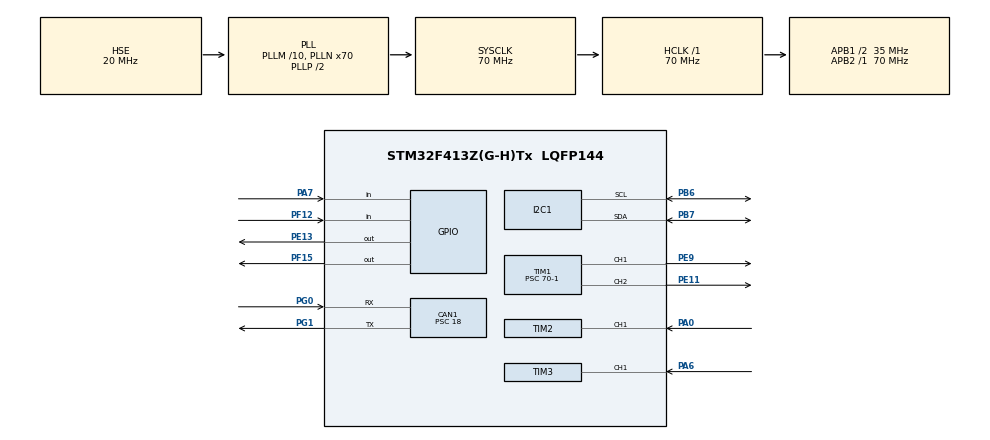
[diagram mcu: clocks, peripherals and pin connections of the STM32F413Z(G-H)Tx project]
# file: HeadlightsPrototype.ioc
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CAN1.ABOM=DISABLE
CAN1.BS1=CAN_BS1_2TQ
CAN1.CalculateBaudRate=486111
CAN1.CalculateTimeBit=2057
CAN1.CalculateTimeQuantum=514.2857142857143
CAN1.NART=DISABLE
CAN1.Prescaler=18
CAN1.SJW=CAN_SJW_1TQ
Dma.Request0=TIM1_CH1
Dma.Request1=TIM1_CH2
Dma.TIM1_CH1.0.Direction=DMA_MEMORY_TO_PERIPH
Dma.TIM1_CH1.0.FIFOMode=DMA_FIFOMODE_DISABLE
Dma.TIM1_CH1.0.Instance=DMA2_Stream1
Dma.TIM1_CH1.0.MemDataAlignment=DMA_MDATAALIGN_HALFWORD
Dma.TIM1_CH1.0.MemInc=DMA_MINC_ENABLE
Dma.TIM1_CH1.0.Mode=DMA_NORMAL
Dma.TIM1_CH1.0.PeriphDataAlignment=DMA_PDATAALIGN_HALFWORD
Dma.TIM1_CH1.0.PeriphInc=DMA_PINC_DISABLE
Dma.TIM1_CH1.0.Priority=DMA_PRIORITY_LOW
Dma.TIM1_CH2.1.Direction=DMA_MEMORY_TO_PERIPH
Dma.TIM1_CH2.1.FIFOMode=DMA_FIFOMODE_DISABLE
Dma.TIM1_CH2.1.Instance=DMA2_Stream2
Dma.TIM1_CH2.1.MemDataAlignment=DMA_MDATAALIGN_HALFWORD
Dma.TIM1_CH2.1.MemInc=DMA_MINC_ENABLE
Dma.TIM1_CH2.1.Mode=DMA_NORMAL
Dma.TIM1_CH2.1.PeriphDataAlignment=DMA_PDATAALIGN_HALFWORD
Dma.TIM1_CH2.1.PeriphInc=DMA_PINC_DISABLE
Dma.TIM1_CH2.1.Priority=DMA_PRIORITY_LOW
FREERTOS.Tasks01=Updates,0,128,StartUpdatesTask,Default,NULL,Dynamic,NULL,NULL;Handler,-3,128,StartHandlerTask,Default,NULL,Dynamic,NULL,NULL;CAN,-3,128,StartCAN_Task,Default,NULL,Dynamic,NULL,NULL
FREERTOS.configUSE_NEWLIB_REENTRANT=1
I2C1.OwnAddress=0x40
Mcu.Family=STM32F4
Mcu.Name=STM32F413Z(G-H)Tx
Mcu.Package=LQFP144
NVIC.CAN1_RX0_IRQn=true\:5\:0\:false\:false\:true\:true\:true\:true\:true
NVIC.DMA2_Stream1_IRQn=true\:5\:0\:false\:false\:true\:true\:false\:true\:true
NVIC.DMA2_Stream2_IRQn=true\:5\:0\:false\:false\:true\:true\:false\:true\:true
NVIC.I2C1_ER_IRQn=true\:5\:0\:false\:false\:true\:true\:true\:true\:true
NVIC.I2C1_EV_IRQn=true\:5\:0\:false\:false\:true\:true\:true\:true\:true
NVIC.PriorityGroup=NVIC_PRIORITYGROUP_4
NVIC.TIM4_IRQn=true\:15\:0\:false\:false\:true\:false\:false\:true\:true
NVIC.TimeBase=TIM4_IRQn
NVIC.TimeBaseIP=TIM4
PA0.Signal=S_TIM2_CH1_ETR
PA13.Mode=Serial_Wire
PA13.Signal=SYS_JTMS-SWDIO
PA14.Mode=Serial_Wire
PA14.Signal=SYS_JTCK-SWCLK
PA6.Signal=S_TIM3_CH1
PA7.Signal=GPIO_Input
PB6.Mode=I2C
PB6.Signal=I2C1_SCL
PB7.Mode=I2C
PB7.Signal=I2C1_SDA
PE11.Signal=S_TIM1_CH2
PE13.Signal=GPIO_Output
PE9.Signal=S_TIM1_CH1
PF12.Signal=GPIO_Input
PF15.GPIO_PuPd=GPIO_NOPULL
PF15.Signal=GPIO_Output
PG0.Mode=CAN_Activate
PG0.Signal=CAN1_RX
PG1.Mode=CAN_Activate
PG1.Signal=CAN1_TX
PH0\ -\ OSC_IN.Mode=HSE-External-Oscillator
PH0\ -\ OSC_IN.Signal=RCC_OSC_IN
PH1\ -\ OSC_OUT.Mode=HSE-External-Oscillator
PH1\ -\ OSC_OUT.Signal=RCC_OSC_OUT
ProjectManager.HeapSize=0x200
ProjectManager.StackSize=0x400
ProjectManager.TargetToolchain=STM32CubeIDE
RCC.AHBFreq_Value=70000000
RCC.APB1CLKDivider=RCC_HCLK_DIV2
RCC.APB1Freq_Value=35000000
RCC.APB1TimFreq_Value=70000000
RCC.APB2Freq_Value=70000000
RCC.APB2TimFreq_Value=70000000
RCC.CortexFreq_Value=70000000
RCC.HCLKFreq_Value=70000000
RCC.HSE_VALUE=20000000
RCC.PLLM=10
RCC.PLLN=70
RCC.PLLSourceVirtual=RCC_PLLSOURCE_HSE
RCC.SYSCLKFreq_VALUE=70000000
RCC.SYSCLKSource=RCC_SYSCLKSOURCE_PLLCLK
RCC.USBFreq_Value=70000000
RCC.VCOOutputFreq_Value=140000000
SH.S_TIM1_CH1.0=TIM1_CH1,PWM Generation1 CH1
SH.S_TIM1_CH2.0=TIM1_CH2,PWM Generation2 CH2
SH.S_TIM2_CH1_ETR.0=TIM2_CH1,PWM_Input_1
SH.S_TIM3_CH1.0=TIM3_CH1,PWM_Input_1
TIM1.Channel-PWM\ Generation1\ CH1=TIM_CHANNEL_1
TIM1.Channel-PWM\ Generation2\ CH2=TIM_CHANNEL_2
TIM1.Period=100-1
TIM1.Prescaler=70-1
VP_FREERTOS_VS_CMSIS_V1.Mode=CMSIS_V1
VP_SYS_VS_tim4.Mode=TIM4
VP_TIM1_VS_ClockSourceINT.Mode=Internal
VP_TIM2_VS_ClockSourceINT.Mode=Internal
VP_TIM3_VS_ClockSourceINT.Mode=Internal
board=custom

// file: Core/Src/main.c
/* USER CODE BEGIN Header */
/**
 ******************************************************************************
 * @file           : main.c
 * @brief          : Main program body
 ******************************************************************************
 * @attention
 *
 * Copyright (c) 2024 STMicroelectronics.
 * All rights reserved.
 *
 * This software is licensed under terms that can be found in the LICENSE file
 * in the root directory of this software component.
 * If no LICENSE file comes with this software, it is provided AS-IS.
 *
 ******************************************************************************
 */
/* USER CODE END Header */
#include "main.h"
#include "cmsis_os.h"

/* USER CODE BEGIN Includes */

#include "headlights.h"
#include "indicators.h"
#include "tests_headlights.h"
#include "tests_indicators.h"
#include "stdio.h"
#include "stdlib.h"
#include "ina219.h"

/* USER CODE END Includes */

CAN_HandleTypeDef hcan1;

I2C_HandleTypeDef hi2c1;

TIM_HandleTypeDef htim1;
TIM_HandleTypeDef htim2;
TIM_HandleTypeDef htim3;
DMA_HandleTypeDef hdma_tim1_ch1;
DMA_HandleTypeDef hdma_tim1_ch2;

osThreadId CANHandle;
osThreadId INA219Handle;
osThreadId IndicatorsHandle;

void SystemClock_Config(void);
static void MX_GPIO_Init(void);
static void MX_DMA_Init(void);
static void MX_TIM1_Init(void);
static void MX_TIM3_Init(void);
static void MX_TIM2_Init(void);
static void MX_CAN1_Init(void);
static void MX_I2C1_Init(void);
void StartCAN_Task(void const * argument);
void StartINA219_Task(void const * argument);
void StartIndicators_Task(void const * argument);

/* USER CODE BEGIN PFP */
static void MX_CAN_Filter_Config(void);
/* USER CODE END PFP */

/* USER CODE BEGIN 0 */

typedef union
{
	uint8_t bytes[8];    // Access as an array of 8 bytes
	uint16_t u16[4];     // Access as an array of 4 unsigned 16-bit integers
	uint32_t u32[2];     // Access as an array of 2 unsigned 32-bit integers
	float f[2];          // Access as an array of 2 floats
}CAN_MessageData;

INA219_t ina219;

typedef struct {
	uint16_t busVoltage_mV;   // bus voltage, LSB 4 mV
	int32_t  shuntVoltage_uV; // shunt voltage in microvolts, LSB 10 uV, signed
	int16_t  current_mA;      // current in mA
} INA219_Readings_t;
static volatile INA219_Readings_t ina219_readings;

/* USER CODE END 0 */

int main(void)
{

  /* MCU Configuration--------------------------------------------------------*/

  /* Reset of all peripherals, Initializes the Flash interface and the Systick. */
  HAL_Init();

  /* Configure the system clock */
  SystemClock_Config();

  /* Initialize all configured peripherals */
  MX_GPIO_Init();
  MX_DMA_Init();
  MX_TIM1_Init();
  MX_TIM3_Init();
  MX_TIM2_Init();
  MX_CAN1_Init();
  MX_I2C1_Init();
  /* USER CODE BEGIN 2 */

	HAL_TIM_IC_Start_IT(&htim2, TIM_CHANNEL_1); // input, main channel, captures interrupts
	HAL_TIM_IC_Start(&htim2, TIM_CHANNEL_2); // input, indirect channel, no interrupts
	HAL_TIM_IC_Start_IT(&htim3, TIM_CHANNEL_1);
	HAL_TIM_IC_Start(&htim3, TIM_CHANNEL_2);

	HAL_TIM_PWM_Start(&htim1, TIM_CHANNEL_1);
	HAL_TIM_PWM_Start(&htim1, TIM_CHANNEL_2);

	headlights_GPIO highBeam = { GPIOA, GPIO_PIN_6 };
	headlights_GPIO lowBeam = { GPIOA, GPIO_PIN_0 };
	indicators_GPIO leftInd = { GPIOF, GPIO_PIN_12 };
	indicators_GPIO rightInd = { GPIOA, GPIO_PIN_7 };

#if RUN_BOOT_SELFTEST
	Headlights_Init_Test(highBeam, lowBeam);
	Headlights_Updates_Test();
	Headlights_Handle_Test();

	Indicators_Init(leftInd, rightInd);
	Indicators_Updates_Test();
	Indicators_Handle_Test();
#endif

	Headlights_Init(highBeam, lowBeam);
	Indicators_Init(leftInd, rightInd);

	MX_CAN_Filter_Config();
	HAL_CAN_Start(&hcan1);
	HAL_CAN_ActivateNotification(&hcan1, CAN_IT_RX_FIFO0_MSG_PENDING);

	//Initialize INA219
	if (INA219_Init(&ina219, &hi2c1, INA219_ADDRESS) == 0)
	    {
			Error_Handler();
	    }
	INA219_setConfig(&ina219, INA219_CONFIG_BVOLTAGERANGE_32V |
	                            INA219_CONFIG_GAIN_8_320MV |
	                            INA219_CONFIG_BADCRES_12BIT |
	                            INA219_CONFIG_SADCRES_12BIT_1S_532US |
	                            INA219_CONFIG_MODE_SANDBVOLT_CONTINUOUS);

  /* USER CODE END 2 */

  /* Create the thread(s) */
  /* definition and creation of CAN */
  osThreadDef(CAN, StartCAN_Task, osPriorityIdle, 0, 128);
  CANHandle = osThreadCreate(osThread(CAN), NULL);

  /* USER CODE BEGIN RTOS_THREADS */
  /* definition and creation of INA219 polling thread */
  osThreadDef(INA219, StartINA219_Task, osPriorityLow, 0, 128);
  INA219Handle = osThreadCreate(osThread(INA219), NULL);

  /* definition and creation of indicator blink thread */
  osThreadDef(Indicators, StartIndicators_Task, osPriorityNormal, 0, 128);
  IndicatorsHandle = osThreadCreate(osThread(Indicators), NULL);
  /* USER CODE END RTOS_THREADS */

  /* Start scheduler */
  osKernelStart();

  /* We should never get here as control is now taken by the scheduler */

  /* Infinite loop */
	while (1) {

    /* USER CODE BEGIN 3 */

		HAL_Delay(100);
	}
  /* USER CODE END 3 */
}

void SystemClock_Config(void)
{
  RCC_OscInitTypeDef RCC_OscInitStruct = {0};
  RCC_ClkInitTypeDef RCC_ClkInitStruct = {0};

  /** Configure the main internal regulator output voltage
  */
  __HAL_RCC_PWR_CLK_ENABLE();
  __HAL_PWR_VOLTAGESCALING_CONFIG(PWR_REGULATOR_VOLTAGE_SCALE1);

  /** Initializes the RCC Oscillators according to the specified parameters
  * in the RCC_OscInitTypeDef structure.
  */
  RCC_OscInitStruct.OscillatorType = RCC_OSCILLATORTYPE_HSE;
  RCC_OscInitStruct.HSEState = RCC_HSE_ON;
  RCC_OscInitStruct.PLL.PLLState = RCC_PLL_ON;
  RCC_OscInitStruct.PLL.PLLSource = RCC_PLLSOURCE_HSE;
  RCC_OscInitStruct.PLL.PLLM = 10;
  RCC_OscInitStruct.PLL.PLLN = 70;
  RCC_OscInitStruct.PLL.PLLP = RCC_PLLP_DIV2;
  RCC_OscInitStruct.PLL.PLLQ = 2;
  RCC_OscInitStruct.PLL.PLLR = 2;
  if (HAL_RCC_OscConfig(&RCC_OscInitStruct) != HAL_OK)
  {
    Error_Handler();
  }

  /** Initializes the CPU, AHB and APB buses clocks
  */
  RCC_ClkInitStruct.ClockType = RCC_CLOCKTYPE_HCLK|RCC_CLOCKTYPE_SYSCLK
                              |RCC_CLOCKTYPE_PCLK1|RCC_CLOCKTYPE_PCLK2;
  RCC_ClkInitStruct.SYSCLKSource = RCC_SYSCLKSOURCE_PLLCLK;
  RCC_ClkInitStruct.AHBCLKDivider = RCC_SYSCLK_DIV1;
  RCC_ClkInitStruct.APB1CLKDivider = RCC_HCLK_DIV2;
  RCC_ClkInitStruct.APB2CLKDivider = RCC_HCLK_DIV1;

  if (HAL_RCC_ClockConfig(&RCC_ClkInitStruct, FLASH_LATENCY_2) != HAL_OK)
  {
    Error_Handler();
  }
}

static void MX_CAN1_Init(void)
{

  hcan1.Instance = CAN1;
  hcan1.Init.Prescaler = 18;
  hcan1.Init.Mode = CAN_MODE_NORMAL;
  hcan1.Init.SyncJumpWidth = CAN_SJW_1TQ;
  hcan1.Init.TimeSeg1 = CAN_BS1_2TQ;
  hcan1.Init.TimeSeg2 = CAN_BS2_1TQ;
  hcan1.Init.TimeTriggeredMode = DISABLE;
  hcan1.Init.AutoBusOff = DISABLE;
  hcan1.Init.AutoWakeUp = DISABLE;
  hcan1.Init.AutoRetransmission = DISABLE;
  hcan1.Init.ReceiveFifoLocked = DISABLE;
  hcan1.Init.TransmitFifoPriority = DISABLE;
  if (HAL_CAN_Init(&hcan1) != HAL_OK)
  {
    Error_Handler();
  }

}

static void MX_I2C1_Init(void)
{

  hi2c1.Instance = I2C1;
  hi2c1.Init.ClockSpeed = 100000;
  hi2c1.Init.DutyCycle = I2C_DUTYCYCLE_2;
  hi2c1.Init.OwnAddress1 = 128;
  hi2c1.Init.AddressingMode = I2C_ADDRESSINGMODE_7BIT;
  hi2c1.Init.DualAddressMode = I2C_DUALADDRESS_DISABLE;
  hi2c1.Init.OwnAddress2 = 0;
  hi2c1.Init.GeneralCallMode = I2C_GENERALCALL_DISABLE;
  hi2c1.Init.NoStretchMode = I2C_NOSTRETCH_DISABLE;
  if (HAL_I2C_Init(&hi2c1) != HAL_OK)
  {
    Error_Handler();
  }

}

static void MX_TIM1_Init(void)
{

  TIM_ClockConfigTypeDef sClockSourceConfig = {0};
  TIM_MasterConfigTypeDef sMasterConfig = {0};
  TIM_OC_InitTypeDef sConfigOC = {0};
  TIM_BreakDeadTimeConfigTypeDef sBreakDeadTimeConfig = {0};

  htim1.Instance = TIM1;
  htim1.Init.Prescaler = 70-1;
  htim1.Init.CounterMode = TIM_COUNTERMODE_UP;
  htim1.Init.Period = 100-1;
  htim1.Init.ClockDivision = TIM_CLOCKDIVISION_DIV1;
  htim1.Init.RepetitionCounter = 0;
  htim1.Init.AutoReloadPreload = TIM_AUTORELOAD_PRELOAD_DISABLE;
  if (HAL_TIM_Base_Init(&htim1) != HAL_OK)
  {
    Error_Handler();
  }
  sClockSourceConfig.ClockSource = TIM_CLOCKSOURCE_INTERNAL;
  if (HAL_TIM_ConfigClockSource(&htim1, &sClockSourceConfig) != HAL_OK)
  {
    Error_Handler();
  }
  if (HAL_TIM_PWM_Init(&htim1) != HAL_OK)
  {
    Error_Handler();
  }
  sMasterConfig.MasterOutputTrigger = TIM_TRGO_RESET;
  sMasterConfig.MasterSlaveMode = TIM_MASTERSLAVEMODE_DISABLE;
  if (HAL_TIMEx_MasterConfigSynchronization(&htim1, &sMasterConfig) != HAL_OK)
  {
    Error_Handler();
  }
  sConfigOC.OCMode = TIM_OCMODE_PWM1;
  sConfigOC.Pulse = 0;
  sConfigOC.OCPolarity = TIM_OCPOLARITY_HIGH;
  sConfigOC.OCNPolarity = TIM_OCNPOLARITY_HIGH;
  sConfigOC.OCFastMode = TIM_OCFAST_DISABLE;
  sConfigOC.OCIdleState = TIM_OCIDLESTATE_RESET;
  sConfigOC.OCNIdleState = TIM_OCNIDLESTATE_RESET;
  if (HAL_TIM_PWM_ConfigChannel(&htim1, &sConfigOC, TIM_CHANNEL_1) != HAL_OK)
  {
    Error_Handler();
  }
  if (HAL_TIM_PWM_ConfigChannel(&htim1, &sConfigOC, TIM_CHANNEL_2) != HAL_OK)
  {
    Error_Handler();
  }
  sBreakDeadTimeConfig.OffStateRunMode = TIM_OSSR_DISABLE;
  sBreakDeadTimeConfig.OffStateIDLEMode = TIM_OSSI_DISABLE;
  sBreakDeadTimeConfig.LockLevel = TIM_LOCKLEVEL_OFF;
  sBreakDeadTimeConfig.DeadTime = 0;
  sBreakDeadTimeConfig.BreakState = TIM_BREAK_DISABLE;
  sBreakDeadTimeConfig.BreakPolarity = TIM_BREAKPOLARITY_HIGH;
  sBreakDeadTimeConfig.AutomaticOutput = TIM_AUTOMATICOUTPUT_DISABLE;
  if (HAL_TIMEx_ConfigBreakDeadTime(&htim1, &sBreakDeadTimeConfig) != HAL_OK)
  {
    Error_Handler();
  }
  HAL_TIM_MspPostInit(&htim1);

}

static void MX_TIM2_Init(void)
{

  TIM_ClockConfigTypeDef sClockSourceConfig = {0};
  TIM_SlaveConfigTypeDef sSlaveConfig = {0};
  TIM_IC_InitTypeDef sConfigIC = {0};
  TIM_MasterConfigTypeDef sMasterConfig = {0};

  htim2.Instance = TIM2;
  htim2.Init.Prescaler = 0;
  htim2.Init.CounterMode = TIM_COUNTERMODE_UP;
  htim2.Init.Period = 4294967295;
  htim2.Init.ClockDivision = TIM_CLOCKDIVISION_DIV1;
  htim2.Init.AutoReloadPreload = TIM_AUTORELOAD_PRELOAD_DISABLE;
  if (HAL_TIM_Base_Init(&htim2) != HAL_OK)
  {
    Error_Handler();
  }
  sClockSourceConfig.ClockSource = TIM_CLOCKSOURCE_INTERNAL;
  if (HAL_TIM_ConfigClockSource(&htim2, &sClockSourceConfig) != HAL_OK)
  {
    Error_Handler();
  }
  if (HAL_TIM_IC_Init(&htim2) != HAL_OK)
  {
    Error_Handler();
  }
  sSlaveConfig.SlaveMode = TIM_SLAVEMODE_RESET;
  sSlaveConfig.InputTrigger = TIM_TS_TI1FP1;
  sSlaveConfig.TriggerPolarity = TIM_INPUTCHANNELPOLARITY_RISING;
  sSlaveConfig.TriggerPrescaler = TIM_ICPSC_DIV1;
  sSlaveConfig.TriggerFilter = 0;
  if (HAL_TIM_SlaveConfigSynchro(&htim2, &sSlaveConfig) != HAL_OK)
  {
    Error_Handler();
  }
  sConfigIC.ICPolarity = TIM_INPUTCHANNELPOLARITY_RISING;
  sConfigIC.ICSelection = TIM_ICSELECTION_DIRECTTI;
  sConfigIC.ICPrescaler = TIM_ICPSC_DIV1;
  sConfigIC.ICFilter = 0;
  if (HAL_TIM_IC_ConfigChannel(&htim2, &sConfigIC, TIM_CHANNEL_1) != HAL_OK)
  {
    Error_Handler();
  }
  sConfigIC.ICPolarity = TIM_INPUTCHANNELPOLARITY_FALLING;
  sConfigIC.ICSelection = TIM_ICSELECTION_INDIRECTTI;
  if (HAL_TIM_IC_ConfigChannel(&htim2, &sConfigIC, TIM_CHANNEL_2) != HAL_OK)
  {
    Error_Handler();
  }
  sMasterConfig.MasterOutputTrigger = TIM_TRGO_RESET;
  sMasterConfig.MasterSlaveMode = TIM_MASTERSLAVEMODE_DISABLE;
  if (HAL_TIMEx_MasterConfigSynchronization(&htim2, &sMasterConfig) != HAL_OK)
  {
    Error_Handler();
  }

}

static void MX_TIM3_Init(void)
{

  TIM_ClockConfigTypeDef sClockSourceConfig = {0};
  TIM_SlaveConfigTypeDef sSlaveConfig = {0};
  TIM_IC_InitTypeDef sConfigIC = {0};
  TIM_MasterConfigTypeDef sMasterConfig = {0};

  htim3.Instance = TIM3;
  htim3.Init.Prescaler = 0;
  htim3.Init.CounterMode = TIM_COUNTERMODE_UP;
  htim3.Init.Period = 65535;
  htim3.Init.ClockDivision = TIM_CLOCKDIVISION_DIV1;
  htim3.Init.AutoReloadPreload = TIM_AUTORELOAD_PRELOAD_DISABLE;
  if (HAL_TIM_Base_Init(&htim3) != HAL_OK)
  {
    Error_Handler();
  }
  sClockSourceConfig.ClockSource = TIM_CLOCKSOURCE_INTERNAL;
  if (HAL_TIM_ConfigClockSource(&htim3, &sClockSourceConfig) != HAL_OK)
  {
    Error_Handler();
  }
  if (HAL_TIM_IC_Init(&htim3) != HAL_OK)
  {
    Error_Handler();
  }
  sSlaveConfig.SlaveMode = TIM_SLAVEMODE_RESET;
  sSlaveConfig.InputTrigger = TIM_TS_TI1FP1;
  sSlaveConfig.TriggerPolarity = TIM_INPUTCHANNELPOLARITY_RISING;
  sSlaveConfig.TriggerPrescaler = TIM_ICPSC_DIV1;
  sSlaveConfig.TriggerFilter = 0;
  if (HAL_TIM_SlaveConfigSynchro(&htim3, &sSlaveConfig) != HAL_OK)
  {
    Error_Handler();
  }
  sConfigIC.ICPolarity = TIM_INPUTCHANNELPOLARITY_RISING;
  sConfigIC.ICSelection = TIM_ICSELECTION_DIRECTTI;
  sConfigIC.ICPrescaler = TIM_ICPSC_DIV1;
  sConfigIC.ICFilter = 0;
  if (HAL_TIM_IC_ConfigChannel(&htim3, &sConfigIC, TIM_CHANNEL_1) != HAL_OK)
  {
    Error_Handler();
  }
  sConfigIC.ICPolarity = TIM_INPUTCHANNELPOLARITY_FALLING;
  sConfigIC.ICSelection = TIM_ICSELECTION_INDIRECTTI;
  if (HAL_TIM_IC_ConfigChannel(&htim3, &sConfigIC, TIM_CHANNEL_2) != HAL_OK)
  {
    Error_Handler();
  }
  sMasterConfig.MasterOutputTrigger = TIM_TRGO_RESET;
  sMasterConfig.MasterSlaveMode = TIM_MASTERSLAVEMODE_DISABLE;
  if (HAL_TIMEx_MasterConfigSynchronization(&htim3, &sMasterConfig) != HAL_OK)
  {
    Error_Handler();
  }

}

static void MX_DMA_Init(void)
{

  /* DMA controller clock enable */
  __HAL_RCC_DMA2_CLK_ENABLE();

  /* DMA interrupt init */
  /* DMA2_Stream1_IRQn interrupt configuration */
  HAL_NVIC_SetPriority(DMA2_Stream1_IRQn, 5, 0);
  HAL_NVIC_EnableIRQ(DMA2_Stream1_IRQn);
  /* DMA2_Stream2_IRQn interrupt configuration */
  HAL_NVIC_SetPriority(DMA2_Stream2_IRQn, 5, 0);
  HAL_NVIC_EnableIRQ(DMA2_Stream2_IRQn);

}

static void MX_GPIO_Init(void)
{
  GPIO_InitTypeDef GPIO_InitStruct = {0};

  /* GPIO Ports Clock Enable */
  __HAL_RCC_GPIOH_CLK_ENABLE();
  __HAL_RCC_GPIOA_CLK_ENABLE();
  __HAL_RCC_GPIOF_CLK_ENABLE();
  __HAL_RCC_GPIOG_CLK_ENABLE();
  __HAL_RCC_GPIOE_CLK_ENABLE();
  __HAL_RCC_GPIOB_CLK_ENABLE();

  /*Configure GPIO pin Output Level */
  HAL_GPIO_WritePin(GPIOF, GPIO_PIN_15, GPIO_PIN_RESET);

  /*Configure GPIO pin Output Level */
  HAL_GPIO_WritePin(GPIOE, GPIO_PIN_13, GPIO_PIN_RESET);

  /*Configure GPIO pin : PA7 */
  GPIO_InitStruct.Pin = GPIO_PIN_7;
  GPIO_InitStruct.Mode = GPIO_MODE_INPUT;
  GPIO_InitStruct.Pull = GPIO_NOPULL;
  HAL_GPIO_Init(GPIOA, &GPIO_InitStruct);

  /*Configure GPIO pin : PF12 */
  GPIO_InitStruct.Pin = GPIO_PIN_12;
  GPIO_InitStruct.Mode = GPIO_MODE_INPUT;
  GPIO_InitStruct.Pull = GPIO_NOPULL;
  HAL_GPIO_Init(GPIOF, &GPIO_InitStruct);

  /*Configure GPIO pin : PF15 */
  GPIO_InitStruct.Pin = GPIO_PIN_15;
  GPIO_InitStruct.Mode = GPIO_MODE_OUTPUT_PP;
  GPIO_InitStruct.Pull = GPIO_NOPULL;
  GPIO_InitStruct.Speed = GPIO_SPEED_FREQ_LOW;
  HAL_GPIO_Init(GPIOF, &GPIO_InitStruct);

  /*Configure GPIO pin : PE13 */
  GPIO_InitStruct.Pin = GPIO_PIN_13;
  GPIO_InitStruct.Mode = GPIO_MODE_OUTPUT_PP;
  GPIO_InitStruct.Pull = GPIO_NOPULL;
  GPIO_InitStruct.Speed = GPIO_SPEED_FREQ_LOW;
  HAL_GPIO_Init(GPIOE, &GPIO_InitStruct);

}

/* USER CODE BEGIN 4 */

/**
  * @brief Configure and activate a CAN acceptance filter.
  * @note  Without an activated filter, bxCAN drops every incoming frame and
  *        the RX FIFO never fills. Bank 0 is set to IDMASK with ID=0/mask=0,
  *        so all standard IDs pass; dispatch by ID happens in StartCAN_Task.
  * @retval None
  */
static void MX_CAN_Filter_Config(void)
{
  CAN_FilterTypeDef sFilterConfig;

  sFilterConfig.FilterBank           = 0;
  sFilterConfig.FilterMode           = CAN_FILTERMODE_IDMASK;
  sFilterConfig.FilterScale          = CAN_FILTERSCALE_32BIT;
  sFilterConfig.FilterIdHigh         = 0x0000;
  sFilterConfig.FilterIdLow          = 0x0000;
  sFilterConfig.FilterMaskIdHigh     = 0x0000;
  sFilterConfig.FilterMaskIdLow      = 0x0000;
  sFilterConfig.FilterFIFOAssignment = CAN_RX_FIFO0;
  sFilterConfig.FilterActivation     = CAN_FILTER_ENABLE;
  sFilterConfig.SlaveStartFilterBank = 14;

  if (HAL_CAN_ConfigFilter(&hcan1, &sFilterConfig) != HAL_OK)
  {
    Error_Handler();
  }
}

/* USER CODE END 4 */

void StartCAN_Task(void const * argument)
{
  /* USER CODE BEGIN StartCAN_Task */

	CAN_RxHeaderTypeDef rxHeader;
	CAN_MessageData rxData;

  /* Infinite loop */
  for(;;)
  {
	  if (HAL_CAN_GetRxFifoFillLevel(&hcan1, CAN_RX_FIFO0) > 0)
	      {
	        // Receive the CAN message
		  if (HAL_CAN_GetRxMessage(&hcan1, CAN_RX_FIFO0, &rxHeader, rxData.bytes) == HAL_OK)
		  	  {
			  	  // Check the CAN message ID
		          switch (rxHeader.StdId)
		          {
		            case CAN_ID_LOW:
		              if (rxHeader.DLC == 1)
		              {
		                // Turn on low beam
		                TIM1->CCR1 = 0;
		                TIM1->CCR2 = 100;
		              }
		              break;

		            case CAN_ID_HIGH:
		              if (rxHeader.DLC == 1)
		              {
		                // Turn on high beam
		                TIM1->CCR1 = 100;
		                TIM1->CCR2 = 0;
		              }
		              break;

		            case CAN_ID_OFF:
		              if (rxHeader.DLC == 1)
		              {
		                // Turn off the headlights
		                TIM1->CCR1 = 0;
		                TIM1->CCR2 = 0;
		              }
		              break;
		           }
		       }
	      }

    osDelay(1);
  }
  /* USER CODE END StartCAN_Task */
}

/* USER CODE BEGIN Header_StartINA219_Task */
/**
* @brief Function implementing the INA219 polling thread.
* @param argument: Not used
* @retval None
*/
/* USER CODE END Header_StartINA219_Task */
void StartINA219_Task(void const * argument)
{
  /* USER CODE BEGIN StartINA219_Task */
  /* Infinite loop */
  for(;;)
  {
	  ina219_readings.busVoltage_mV = INA219_ReadBusVoltage(&ina219);
	  ina219_readings.shuntVoltage_uV = INA219_ReadShuntVolage(&ina219);
	  ina219_readings.current_mA    = INA219_ReadCurrent(&ina219);

	  osDelay(500);
  }
  /* USER CODE END StartINA219_Task */
}

/* USER CODE BEGIN Header_StartIndicators_Task */
/**
* @brief Function implementing the indicator blink thread.
* @param argument: Not used
* @retval None
*/
/* USER CODE END Header_StartIndicators_Task */
void StartIndicators_Task(void const * argument)
{
  /* USER CODE BEGIN StartIndicators_Task */
  /* Infinite loop */
  for(;;)
  {
	  Indicators_Update();   // sample the L/R switch inputs
	  Indicators_Handle();   // toggle the active indicator(s)
	  osDelay(100);          // fixed 100 ms blink cadence
  }
  /* USER CODE END StartIndicators_Task */
}

void HAL_TIM_PeriodElapsedCallback(TIM_HandleTypeDef *htim)
{
  if (htim->Instance == TIM4) {
    HAL_IncTick();
  }
}

void Error_Handler(void)
{
	__disable_irq();
	while (1) {
	}
}
